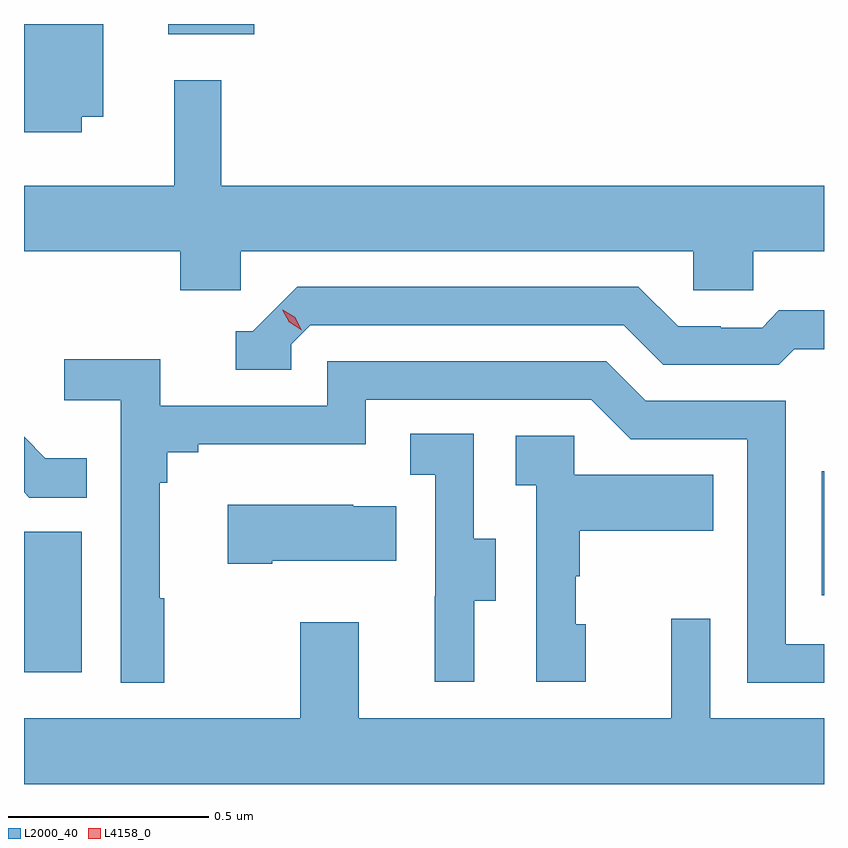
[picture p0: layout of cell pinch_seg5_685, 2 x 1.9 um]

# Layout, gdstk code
import gdstk
lib = gdstk.Library(unit=1e-6, precision=1e-09)
def R(c, l, rs):  # rectangles x0, y0, x1, y1
    for r in rs: c.add(gdstk.rectangle(r[:2], r[2:], *l))
def P(c, l, *ps):  # polygons
    for p in ps: c.add(gdstk.Polygon(p, *l))
L2000_40 = (2000, 40)
L4158_0 = (4158, 0)

pinch_seg5_685 = lib.new_cell('pinch_seg5_685')
R(pinch_seg5_685, L2000_40, [(1046.032,851.712,1046.176,852.063), (1048.026,851.904,1048.032,852.214), (1046.393,853.307,1046.608,853.332)])
P(pinch_seg5_685, L2000_40, [(1046.176,853.1),(1046.23,853.1),(1046.23,853.332),(1046.032,853.332),(1046.032,853.061),(1046.176,853.061)],
  [(1046.574,852.764),(1047.705,852.764),(1047.705,852.666),(1047.855,852.666),(1047.855,852.764),(1048.032,852.764),(1048.032,852.928),(1046.525,852.928),(1046.525,853.192),(1046.407,853.192),(1046.407,852.928),(1046.032,852.928),(1046.032,852.764),(1046.423,852.764),(1046.423,852.666),(1046.574,852.666)],
  [(1046.7,852.531),(1046.748,852.579),(1047.531,852.579),(1047.63,852.48),(1047.919,852.48),(1047.958,852.519),(1048.032,852.519),(1048.032,852.616),(1047.919,852.616),(1047.877,852.573),(1047.774,852.573),(1047.774,852.576),(1047.667,852.576),(1047.568,852.675),(1046.715,852.675),(1046.604,852.564),(1046.561,852.564),(1046.561,852.468),(1046.7,852.468)],
  [(1046.383,851.897),(1046.371,851.897),(1046.371,852.185),(1046.39,852.185),(1046.39,852.262),(1046.467,852.262),(1046.467,852.281),(1046.886,852.281),(1046.886,852.393),(1047.45,852.393),(1047.549,852.294),(1047.84,852.294),(1047.84,851.685),(1048.032,851.685),(1048.032,851.781),(1047.936,851.781),(1047.936,852.39),(1047.586,852.39),(1047.487,852.489),(1046.79,852.489),(1046.79,852.378),(1046.372,852.378),(1046.372,852.494),(1046.133,852.494),(1046.133,852.392),(1046.274,852.392),(1046.274,851.685),(1046.383,851.685)],
  [(1047.157,851.89),(1047.211,851.89),(1047.211,852.045),(1047.156,852.045),(1047.156,852.308),(1046.997,852.308),(1046.997,852.205),(1047.06,852.205),(1047.06,851.901),(1047.059,851.901),(1047.059,851.688),(1047.157,851.688)],
  [(1047.436,851.832),(1047.411,851.832),(1047.411,851.951),(1047.421,851.951),(1047.421,852.065),(1047.755,852.065),(1047.755,852.205),(1047.408,852.205),(1047.408,852.303),(1047.261,852.303),(1047.261,852.179),(1047.312,852.179),(1047.312,851.688),(1047.436,851.688)],
  [(1046.189,852.247),(1046.085,852.247),(1046.032,852.3),(1046.032,852.161),(1046.045,852.148),(1046.189,852.148)],
  [(1046.653,851.99),(1046.963,851.99),(1046.963,852.127),(1046.855,852.127),(1046.855,852.13),(1046.541,852.13),(1046.541,851.983),(1046.653,851.983)],
  [(1048.032,851.596),(1047.747,851.596),(1047.747,851.845),(1047.65,851.845),(1047.65,851.596),(1046.869,851.596),(1046.869,851.836),(1046.722,851.836),(1046.722,851.596),(1046.032,851.596),(1046.032,851.432),(1048.032,851.432)])
P(pinch_seg5_685, L4158_0, [(1046.726,852.567),(1046.695,852.586),(1046.678,852.618),(1046.678,852.618),(1046.679,852.618),(1046.71,852.599),(1046.726,852.567),(1046.726,852.567)])

lib.write_gds('pinch_seg5_685.gds')
